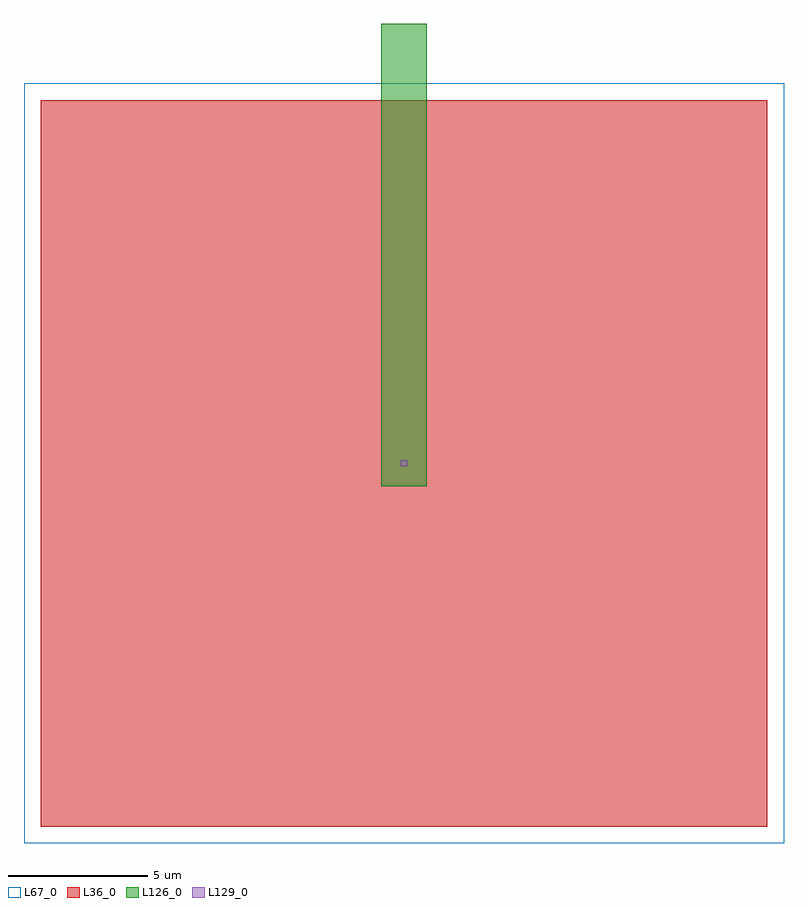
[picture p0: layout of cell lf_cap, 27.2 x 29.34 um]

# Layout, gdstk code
import gdstk
lib = gdstk.Library(unit=1e-6, precision=1e-09)
def R(c, l, rs):  # rectangles x0, y0, x1, y1
    for r in rs: c.add(gdstk.rectangle(r[:2], r[2:], *l))
L36_0 = (36, 0)
L67_0 = (67, 0)
L126_0 = (126, 0)
L129_0 = (129, 0)

lf_cap = lib.new_cell('lf_cap')
R(lf_cap, L36_0, [(0.6,0.6,26.6,26.6)])
R(lf_cap, L67_0, [(0,0,27.2,27.2)])
R(lf_cap, L126_0, [(12.78,12.78,14.42,14.42), (12.78,14.42,14.42,27.7), (12.78,27.7,14.42,29.34)])
R(lf_cap, L129_0, [(13.49,13.49,13.71,13.71)])

lib.write_gds('lf_cap.gds')
